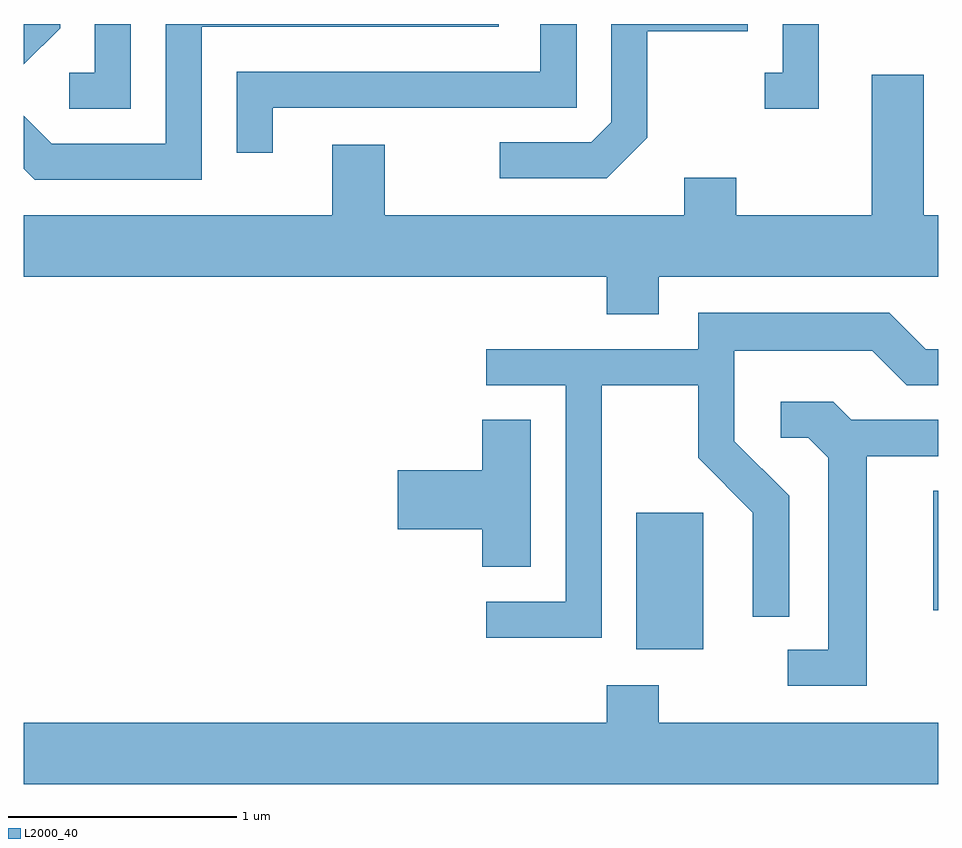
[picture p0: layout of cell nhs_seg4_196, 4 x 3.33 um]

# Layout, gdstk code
import gdstk
lib = gdstk.Library(unit=1e-6, precision=1e-09)
def R(c, l, rs):  # rectangles x0, y0, x1, y1
    for r in rs: c.add(gdstk.rectangle(r[:2], r[2:], *l))
def P(c, l, *ps):  # polygons
    for p in ps: c.add(gdstk.Polygon(p, *l))
L2000_40 = (2000, 40)

nhs_seg4_196 = lib.new_cell('nhs_seg4_196')
R(nhs_seg4_196, L2000_40, [(192.291,1375.246,192.584,1375.844), (193.591,1375.416,193.611,1375.939)])
P(nhs_seg4_196, L2000_40, [(190.389,1377.971),(191.689,1377.971),(191.689,1377.982),(190.231,1377.982),(190.231,1377.459),(189.732,1377.459),(189.611,1377.58),(189.611,1377.349),(189.659,1377.301),(190.389,1377.301)],
  [(189.769,1377.964),(189.769,1377.982),(189.611,1377.982),(189.611,1377.805)],
  [(192.339,1377.484),(192.339,1377.951),(192.779,1377.951),(192.779,1377.982),(192.181,1377.982),(192.181,1377.552),(192.094,1377.464),(191.693,1377.464),(191.693,1377.306),(192.162,1377.306)],
  [(190.699,1377.616),(192.029,1377.616),(192.029,1377.982),(191.871,1377.982),(191.871,1377.774),(190.541,1377.774),(190.541,1377.418),(190.699,1377.418)],
  [(193.089,1377.982),(192.931,1377.982),(192.931,1377.769),(192.853,1377.769),(192.853,1377.611),(193.089,1377.611)],
  [(190.079,1377.982),(189.921,1377.982),(189.921,1377.769),(189.808,1377.769),(189.808,1377.611),(190.079,1377.611)],
  [(192.389,1376.876),(193.611,1376.876),(193.611,1377.144),(193.549,1377.144),(193.549,1377.759),(193.321,1377.759),(193.321,1377.144),(192.729,1377.144),(192.729,1377.309),(192.501,1377.309),(192.501,1377.144),(191.189,1377.144),(191.189,1377.454),(190.961,1377.454),(190.961,1377.144),(189.611,1377.144),(189.611,1376.876),(192.161,1376.876),(192.161,1376.711),(192.389,1376.711)],
  [(192.139,1376.401),(192.561,1376.401),(192.561,1376.084),(192.801,1375.844),(192.801,1375.388),(192.959,1375.388),(192.959,1375.917),(192.719,1376.157),(192.719,1376.551),(193.324,1376.551),(193.474,1376.401),(193.611,1376.401),(193.611,1376.559),(193.557,1376.559),(193.397,1376.719),(192.561,1376.719),(192.561,1376.559),(191.633,1376.559),(191.633,1376.401),(191.981,1376.401),(191.981,1375.454),(191.633,1375.454),(191.633,1375.296),(192.139,1375.296)],
  [(193.299,1376.091),(193.611,1376.091),(193.611,1376.249),(193.232,1376.249),(193.152,1376.329),(192.923,1376.329),(192.923,1376.171),(193.044,1376.171),(193.131,1376.084),(193.131,1375.244),(192.953,1375.244),(192.953,1375.086),(193.299,1375.086)],
  [(191.829,1376.249),(191.616,1376.249),(191.616,1376.029),(191.246,1376.029),(191.246,1375.771),(191.616,1375.771),(191.616,1375.606),(191.829,1375.606)],
  [(193.611,1374.924),(192.389,1374.924),(192.389,1375.089),(192.161,1375.089),(192.161,1374.924),(189.611,1374.924),(189.611,1374.656),(193.611,1374.656)])

lib.write_gds('nhs_seg4_196.gds')
